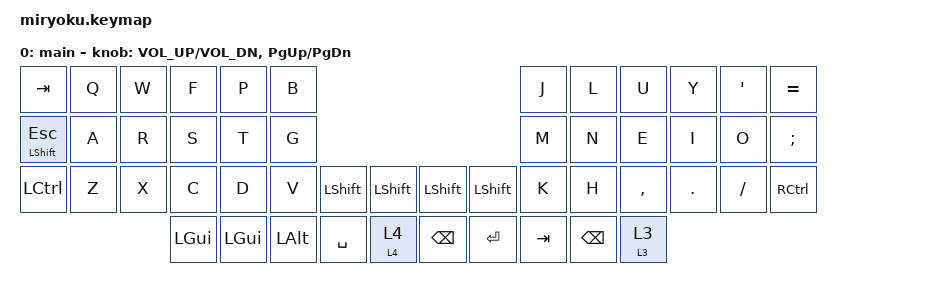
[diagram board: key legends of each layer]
#include <behaviors.dtsi>

/* #include <dt-bindings/zmk/mouse.h> */

#include <dt-bindings/zmk/keys.h>

// Macro to apply momentary-layer-on-hold/toggle-layer-on-tap to a specific layer
/* #define MO_TOG(layer) &mo_tog layer layer */

/ {
    behaviors {
        mo_tog: behavior_mo_tog {
            compatible = "zmk,behavior-hold-tap";
            label = "mo_tog";
            #binding-cells = <2>;
            flavor = "hold-preferred";
            tapping-term-ms = <200>;
            bindings =
                <&mo>,
                <&tog>;
        };
    };

    keymap {
        compatible = "zmk,keymap";

        /* default_layer { */
        /* 	bindings = < */
        /* 		&mo_tog 2 1     // &mo 2 on hold, &tog 1 on tap */
        /* 		MO_TOG(3)       // &mo 3 on hold, &tog 3 on tap */
        /* 	>; */
        /* }; */

        main {
            bindings = <
       &kp TAB  &kp Q  &kp W     &kp F     &kp P     &kp B                                                     &kp J     &kp L        &kp U    &kp Y   &kp SQT  &kp EQUAL
&mt LSHIFT ESC  &kp A  &kp R     &kp S     &kp T     &kp G                                                     &kp M     &kp N        &kp E    &kp I     &kp O   &kp SEMI
     &kp LCTRL  &kp Z  &kp X     &kp C     &kp D     &kp V  &kp LSHIFT   &kp LSHIFT  &kp LSHIFT  &kp LSHIFT    &kp K     &kp H    &kp COMMA  &kp DOT  &kp FSLH  &kp RCTRL
                              &kp LGUI  &kp LGUI  &kp LALT   &kp SPACE  &mo_tog 4 4    &kp BSPC     &kp RET  &kp TAB  &kp BSPC  &mo_tog 3 3
            >;

            sensor-bindings = <&inc_dec_kp C_VOL_UP C_VOL_DN &inc_dec_kp PG_UP PG_DN>;
        };
    };
};
